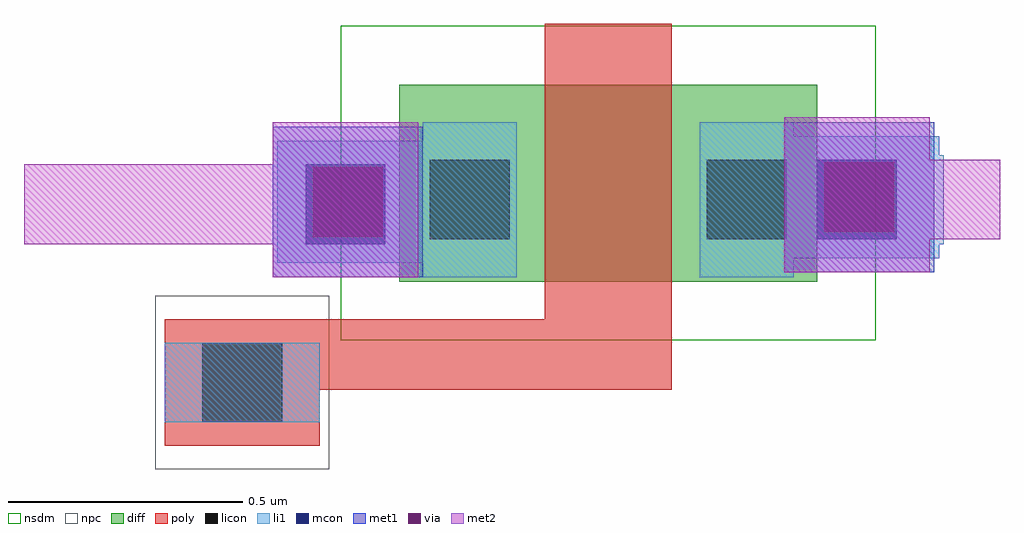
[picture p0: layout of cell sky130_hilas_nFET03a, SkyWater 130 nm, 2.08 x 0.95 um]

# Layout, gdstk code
import gdstk
lib = gdstk.Library(unit=1e-6, precision=1e-09)
def R(c, l, rs):  # rectangles x0, y0, x1, y1
    for r in rs: c.add(gdstk.rectangle(r[:2], r[2:], *l))
diff = (65, 20)
poly = (66, 20)
licon = (66, 44)
li1 = (67, 20)
mcon = (67, 44)
met1 = (68, 20)
via = (68, 44)
met2 = (69, 20)
nsdm = (93, 44)
npc = (95, 20)

sky130_hilas_li2m2 = lib.new_cell('sky130_hilas_li2m2')
R(sky130_hilas_li2m2, li1, [(-0.13,-0.12,0.19,-0.09), (-0.13,-0.09,0.2,0.1), (-0.13,0.1,0.19,0.14)])
R(sky130_hilas_li2m2, mcon, [(-0.07,-0.08,0.1,0.09)])
R(sky130_hilas_li2m2, met1, [(-0.14,-0.15,0.18,0.17)])
R(sky130_hilas_li2m2, via, [(-0.055,-0.065,0.095,0.085)])
R(sky130_hilas_li2m2, met2, [(-0.14,-0.15,0.17,0.18)])

sky130_hilas_nfet03a = lib.new_cell('sky130_hilas_nFET03a')
R(sky130_hilas_nfet03a, diff, [(-0.31,-0.06,0.58,0.36)])
R(sky130_hilas_nfet03a, poly, [(-0.81,-0.41,-0.48,-0.29), (-0.81,-0.29,0.27,-0.14), (0,-0.14,0.27,0.49)])
R(sky130_hilas_nfet03a, licon, [(-0.73,-0.36,-0.56,-0.19), (-0.245,0.03,-0.075,0.2), (0.345,0.03,0.515,0.2)])
R(sky130_hilas_nfet03a, li1, [(-0.81,-0.36,-0.48,-0.19), (-0.26,-0.05,-0.06,0.28), (0.33,-0.05,0.53,0.28)])
R(sky130_hilas_nfet03a, met2, [(-1.11,0.02,-0.51,0.19), (0.75,0.03,0.97,0.2)])
R(sky130_hilas_nfet03a, nsdm, [(-0.435,-0.185,0.705,0.485)])
R(sky130_hilas_nfet03a, npc, [(-0.83,-0.46,-0.46,-0.09)])
sky130_hilas_nfet03a.add(gdstk.Reference(sky130_hilas_li2m2, (0.65,0.11)))
sky130_hilas_nfet03a.add(gdstk.Reference(sky130_hilas_li2m2, (-0.44,0.1)))

lib.write_gds('sky130_hilas_nFET03a.gds')
